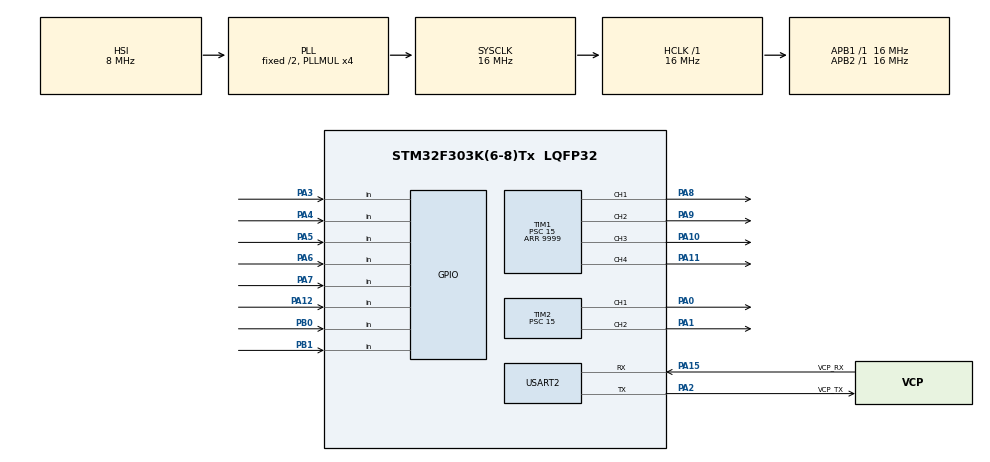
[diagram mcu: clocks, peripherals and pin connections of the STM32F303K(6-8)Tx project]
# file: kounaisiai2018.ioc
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Mcu.Family=STM32F3
Mcu.Name=STM32F303K(6-8)Tx
Mcu.Package=LQFP32
NVIC.PriorityGroup=NVIC_PRIORITYGROUP_4
PA0.Signal=S_TIM2_CH1_ETR
PA1.Signal=S_TIM2_CH2
PA10.Signal=S_TIM1_CH3
PA11.Signal=S_TIM1_CH4
PA12.Signal=GPIO_Input
PA13.GPIO_Label=SWDIO
PA13.Mode=Serial_Wire
PA13.Signal=SYS_JTMS-SWDIO
PA14.GPIO_Label=SWCLK
PA14.Mode=Serial_Wire
PA14.Signal=SYS_JTCK-SWCLK
PA15.GPIO_Label=VCP_RX
PA15.Mode=Asynchronous
PA15.Signal=USART2_RX
PA2.GPIO_Label=VCP_TX
PA2.Mode=Asynchronous
PA2.Signal=USART2_TX
PA3.Signal=GPIO_Input
PA4.Signal=GPIO_Input
PA5.Signal=GPIO_Input
PA6.Signal=GPIO_Input
PA7.Signal=GPIO_Input
PA8.Signal=S_TIM1_CH1
PA9.Signal=S_TIM1_CH2
PB0.Signal=GPIO_Input
PB1.Signal=GPIO_Input
PF0\ /\ OSC_IN.GPIO_Label=MCO
PF0\ /\ OSC_IN.Mode=HSE-External-Clock-Source
PF0\ /\ OSC_IN.Signal=RCC_OSC_IN
ProjectManager.HeapSize=0x200
ProjectManager.StackSize=0x400
ProjectManager.TargetToolchain=SW4STM32
RCC.AHBFreq_Value=16000000
RCC.APB1Freq_Value=16000000
RCC.APB1TimFreq_Value=16000000
RCC.APB2Freq_Value=16000000
RCC.APB2TimFreq_Value=16000000
RCC.CortexFreq_Value=16000000
RCC.HCLKFreq_Value=16000000
RCC.HSE_VALUE=8000000
RCC.HSI_VALUE=8000000
RCC.PLLMUL=RCC_PLL_MUL4
RCC.SYSCLKFreq_VALUE=16000000
RCC.SYSCLKSourceVirtual=RCC_SYSCLKSOURCE_PLLCLK
SH.S_TIM1_CH1.0=TIM1_CH1,PWM Generation1 CH1
SH.S_TIM1_CH2.0=TIM1_CH2,PWM Generation2 CH2
SH.S_TIM1_CH3.0=TIM1_CH3,PWM Generation3 CH3
SH.S_TIM1_CH4.0=TIM1_CH4,PWM Generation4 CH4
SH.S_TIM2_CH1_ETR.0=TIM2_CH1,PWM Generation1 CH1
SH.S_TIM2_CH2.0=TIM2_CH2,PWM Generation2 CH2
TIM1.Channel-PWM\ Generation1\ CH1=TIM_CHANNEL_1
TIM1.Channel-PWM\ Generation2\ CH2=TIM_CHANNEL_2
TIM1.Channel-PWM\ Generation3\ CH3=TIM_CHANNEL_3
TIM1.Channel-PWM\ Generation4\ CH4=TIM_CHANNEL_4
TIM1.Period=9999
TIM1.Prescaler=15
TIM2.Channel-PWM\ Generation1\ CH1=TIM_CHANNEL_1
TIM2.Channel-PWM\ Generation2\ CH2=TIM_CHANNEL_2
TIM2.Period=9999
TIM2.Prescaler=15
USART2.VirtualMode-Asynchronous=VM_ASYNC
VP_TIM1_VS_ClockSourceINT.Mode=Internal
VP_TIM2_VS_ClockSourceINT.Mode=Internal
board=NUCLEO-F303K8

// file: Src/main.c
/**
  ******************************************************************************
  * @file           : main.c
  * @brief          : Main program body
  ******************************************************************************
  ** This notice applies to any and all portions of this file
  * that are not between comment pairs USER CODE BEGIN and
  * USER CODE END. Other portions of this file, whether
  * inserted by the user or by software development tools
  * are owned by their respective copyright owners.
  *
  * COPYRIGHT(c) 2018 STMicroelectronics
  *
  * Redistribution and use in source and binary forms, with or without modification,
  * are permitted provided that the following conditions are met:
  *   1. Redistributions of source code must retain the above copyright notice,
  *      this list of conditions and the following disclaimer.
  *   2. Redistributions in binary form must reproduce the above copyright notice,
  *      this list of conditions and the following disclaimer in the documentation
  *      and/or other materials provided with the distribution.
  *   3. Neither the name of STMicroelectronics nor the names of its contributors
  *      may be used to endorse or promote products derived from this software
  *      without specific prior written permission.
  *
  * THIS SOFTWARE IS PROVIDED BY THE COPYRIGHT HOLDERS AND CONTRIBUTORS "AS IS"
  * AND ANY EXPRESS OR IMPLIED WARRANTIES, INCLUDING, BUT NOT LIMITED TO, THE
  * IMPLIED WARRANTIES OF MERCHANTABILITY AND FITNESS FOR A PARTICULAR PURPOSE ARE
  * DISCLAIMED. IN NO EVENT SHALL THE COPYRIGHT HOLDER OR CONTRIBUTORS BE LIABLE
  * FOR ANY DIRECT, INDIRECT, INCIDENTAL, SPECIAL, EXEMPLARY, OR CONSEQUENTIAL
  * DAMAGES (INCLUDING, BUT NOT LIMITED TO, PROCUREMENT OF SUBSTITUTE GOODS OR
  * SERVICES; LOSS OF USE, DATA, OR PROFITS; OR BUSINESS INTERRUPTION) HOWEVER
  * CAUSED AND ON ANY THEORY OF LIABILITY, WHETHER IN CONTRACT, STRICT LIABILITY,
  * OR TORT (INCLUDING NEGLIGENCE OR OTHERWISE) ARISING IN ANY WAY OUT OF THE USE
  * OF THIS SOFTWARE, EVEN IF ADVISED OF THE POSSIBILITY OF SUCH DAMAGE.
  *
  ******************************************************************************
  */
#include "main.h"
#include "stm32f3xx_hal.h"

TIM_HandleTypeDef htim1;
TIM_HandleTypeDef htim2;

UART_HandleTypeDef huart2;

/* USER CODE BEGIN PV */
/* Private variables ---------------------------------------------------------*/
TIM_OC_InitTypeDef sConfigOC;
/* USER CODE END PV */

void SystemClock_Config(void);
static void MX_GPIO_Init(void);
static void MX_USART2_UART_Init(void);
static void MX_TIM1_Init(void);
static void MX_TIM2_Init(void);
void HAL_TIM_MspPostInit(TIM_HandleTypeDef *htim);

/* USER CODE BEGIN PFP */
/* Private function prototypes -----------------------------------------------*/
//extern void initialise_monitor_handles(void);
/* USER CODE END PFP */

/* USER CODE BEGIN 0 */
inline int SW1()
{
return 	HAL_GPIO_ReadPin(GPIOA,GPIO_PIN_6);
}

inline int SW2()
{
return 	HAL_GPIO_ReadPin(GPIOA,GPIO_PIN_5);
}

inline int SW3()
{
return 	HAL_GPIO_ReadPin(GPIOA,GPIO_PIN_3);
}

inline int SW4()
{
return 	HAL_GPIO_ReadPin(GPIOA,GPIO_PIN_4);
}

inline int SW5()
{
return 	HAL_GPIO_ReadPin(GPIOA,GPIO_PIN_7);
}

inline int SW6()
{
return 	HAL_GPIO_ReadPin(GPIOB,GPIO_PIN_0);
}

inline int SW7()
{
return 	HAL_GPIO_ReadPin(GPIOA,GPIO_PIN_12);
}

inline int SW8()
{
return 	HAL_GPIO_ReadPin(GPIOB,GPIO_PIN_1);
}

long map(long x, long in_min, long in_max, long out_min, long out_max)//値の範囲の変換関数
{
  return (x - in_min) * (out_max - out_min) / (in_max - in_min) + out_min;
}

void motor1(int dire,int duty)//右モーター
{
	if(dire==0){
		__HAL_TIM_SetCompare(&htim1,TIM_CHANNEL_1,9999-map(duty,0,100,0,9999));
		if (HAL_TIM_PWM_Start(&htim1, TIM_CHANNEL_1) != HAL_OK)
				   					{
				   						Error_Handler();
				   					 }

			}

	else if (dire==1){
		__HAL_TIM_SetCompare(&htim1,TIM_CHANNEL_2,9999-map(duty,0,100,0,9999));

			   		if (HAL_TIM_PWM_Start(&htim1, TIM_CHANNEL_2) != HAL_OK)
			   			   			{
			   							Error_Handler();
			   			   			 }
					}
	else if(dire==2)
			{
				__HAL_TIM_SetCompare(&htim1,TIM_CHANNEL_1,9999-map(0,0,100,0,9999));
				__HAL_TIM_SetCompare(&htim1,TIM_CHANNEL_2,9999-map(0,0,100,0,9999));
			}

}

void motor3(int dire,int duty)//左モーター
{
	if(dire==0){

		__HAL_TIM_SetCompare(&htim1,TIM_CHANNEL_3,9999-map(duty,0,100,0,9999));
				   	if (HAL_TIM_PWM_Start(&htim1, TIM_CHANNEL_3) != HAL_OK)
				   					{
				   						Error_Handler();
				   					 }

				}

	else if(dire==1){

				   		__HAL_TIM_SetCompare(&htim1,TIM_CHANNEL_4,9999-map(duty,0,100,0,9999));
				   		if (HAL_TIM_PWM_Start(&htim1, TIM_CHANNEL_4) != HAL_OK)
				   			   			{
				   							Error_Handler();
				   			   			 }

					}
	else if(dire==2)
		{
			__HAL_TIM_SetCompare(&htim1,TIM_CHANNEL_3,9999-map(0,0,100,0,9999));
			__HAL_TIM_SetCompare(&htim1,TIM_CHANNEL_4,9999-map(0,0,100,0,9999));
		}

}

void motor2(int dire,int duty)//第三モーター
{
	if(dire==0){
		__HAL_TIM_SetCompare(&htim2,TIM_CHANNEL_1,9999-map(duty,0,100,0,9999));
			   			    if (HAL_TIM_PWM_Start(&htim2, TIM_CHANNEL_1) != HAL_OK)
			   			   			{
			   			   			 Error_Handler();
			   			   		    }

					}
	else if(dire==1){
		__HAL_TIM_SetCompare(&htim2,TIM_CHANNEL_2,9999-map(duty,0,100,0,9999));
					   			    if (HAL_TIM_PWM_Start(&htim2, TIM_CHANNEL_2) != HAL_OK)
					   			   			{
					   			   			 Error_Handler();
					   			   		    }

	               }
	else if(dire==2)
	{
		__HAL_TIM_SetCompare(&htim2,TIM_CHANNEL_2,9999-map(0,0,100,0,9999));
		__HAL_TIM_SetCompare(&htim2,TIM_CHANNEL_1,9999-map(0,0,100,0,9999));
	}

}

/* USER CODE END 0 */

int main(void)
{
  /* USER CODE BEGIN 1 */
	//initialise_monitor_handles();
  /* USER CODE END 1 */

  /* MCU Configuration----------------------------------------------------------*/

  /* Reset of all peripherals, Initializes the Flash interface and the Systick. */
  HAL_Init();

  /* Configure the system clock */
  SystemClock_Config();

  /* Initialize all configured peripherals */
  MX_GPIO_Init();
  MX_USART2_UART_Init();
  MX_TIM1_Init();
  MX_TIM2_Init();
  /* USER CODE BEGIN 2 */

  //HAL_TIM_Base_Start_IT(&htim1);

  /* USER CODE END 2 */

  /* Infinite loop */
  while (1)
  {

  /* USER CODE BEGIN 3 */
//motor1の挙動
	  if(SW4()==0)
	  {
		  //printf("sw4\n");
		 motor1(0,30);
	  }
	  else if(SW2()==0)
	 	  {
	 		//  printf("sw2\n");
	 		  motor1(1,30);
	 	  }
	  else
	  {
		  motor1(2,0);
	  }

	//motor3挙動
	   if(SW8()==0)
	  {

		  motor3(0,30);
	  }

	   else if(SW6()==0)
	 	  {
	 		  motor3(1,30);
	 	  }
	   else{
		   motor3(2,0);
	   }

	//motor2挙動
	   if(SW3()==0)
	  {
		motor2(1,30);
	  }

	   else if(SW5()==0)
	  {
		  motor2(0,30);
	  }
	   else{
		   motor2(2,0);
	   }

HAL_Delay(10);

  }
  /* USER CODE END 3 */

}

void SystemClock_Config(void)
{

  RCC_OscInitTypeDef RCC_OscInitStruct;
  RCC_ClkInitTypeDef RCC_ClkInitStruct;
  RCC_PeriphCLKInitTypeDef PeriphClkInit;

    /**Initializes the CPU, AHB and APB busses clocks
    */
  RCC_OscInitStruct.OscillatorType = RCC_OSCILLATORTYPE_HSI;
  RCC_OscInitStruct.HSIState = RCC_HSI_ON;
  RCC_OscInitStruct.HSICalibrationValue = 16;
  RCC_OscInitStruct.PLL.PLLState = RCC_PLL_ON;
  RCC_OscInitStruct.PLL.PLLSource = RCC_PLLSOURCE_HSI;
  RCC_OscInitStruct.PLL.PLLMUL = RCC_PLL_MUL4;
  if (HAL_RCC_OscConfig(&RCC_OscInitStruct) != HAL_OK)
  {
    _Error_Handler(__FILE__, __LINE__);
  }

    /**Initializes the CPU, AHB and APB busses clocks
    */
  RCC_ClkInitStruct.ClockType = RCC_CLOCKTYPE_HCLK|RCC_CLOCKTYPE_SYSCLK
                              |RCC_CLOCKTYPE_PCLK1|RCC_CLOCKTYPE_PCLK2;
  RCC_ClkInitStruct.SYSCLKSource = RCC_SYSCLKSOURCE_PLLCLK;
  RCC_ClkInitStruct.AHBCLKDivider = RCC_SYSCLK_DIV1;
  RCC_ClkInitStruct.APB1CLKDivider = RCC_HCLK_DIV1;
  RCC_ClkInitStruct.APB2CLKDivider = RCC_HCLK_DIV1;

  if (HAL_RCC_ClockConfig(&RCC_ClkInitStruct, FLASH_LATENCY_0) != HAL_OK)
  {
    _Error_Handler(__FILE__, __LINE__);
  }

  PeriphClkInit.PeriphClockSelection = RCC_PERIPHCLK_TIM1;
  PeriphClkInit.Tim1ClockSelection = RCC_TIM1CLK_HCLK;
  if (HAL_RCCEx_PeriphCLKConfig(&PeriphClkInit) != HAL_OK)
  {
    _Error_Handler(__FILE__, __LINE__);
  }

    /**Configure the Systick interrupt time
    */
  HAL_SYSTICK_Config(HAL_RCC_GetHCLKFreq()/1000);

    /**Configure the Systick
    */
  HAL_SYSTICK_CLKSourceConfig(SYSTICK_CLKSOURCE_HCLK);

  /* SysTick_IRQn interrupt configuration */
  HAL_NVIC_SetPriority(SysTick_IRQn, 0, 0);
}

/* TIM1 init function */
static void MX_TIM1_Init(void)
{

  TIM_ClockConfigTypeDef sClockSourceConfig;
  TIM_MasterConfigTypeDef sMasterConfig;
  TIM_OC_InitTypeDef sConfigOC;
  TIM_BreakDeadTimeConfigTypeDef sBreakDeadTimeConfig;

  htim1.Instance = TIM1;
  htim1.Init.Prescaler = 15;
  htim1.Init.CounterMode = TIM_COUNTERMODE_UP;
  htim1.Init.Period = 9999;
  htim1.Init.ClockDivision = TIM_CLOCKDIVISION_DIV1;
  htim1.Init.RepetitionCounter = 0;
  htim1.Init.AutoReloadPreload = TIM_AUTORELOAD_PRELOAD_DISABLE;
  if (HAL_TIM_Base_Init(&htim1) != HAL_OK)
  {
    _Error_Handler(__FILE__, __LINE__);
  }

  sClockSourceConfig.ClockSource = TIM_CLOCKSOURCE_INTERNAL;
  if (HAL_TIM_ConfigClockSource(&htim1, &sClockSourceConfig) != HAL_OK)
  {
    _Error_Handler(__FILE__, __LINE__);
  }

  if (HAL_TIM_PWM_Init(&htim1) != HAL_OK)
  {
    _Error_Handler(__FILE__, __LINE__);
  }

  sMasterConfig.MasterOutputTrigger = TIM_TRGO_RESET;
  sMasterConfig.MasterOutputTrigger2 = TIM_TRGO2_RESET;
  sMasterConfig.MasterSlaveMode = TIM_MASTERSLAVEMODE_DISABLE;
  if (HAL_TIMEx_MasterConfigSynchronization(&htim1, &sMasterConfig) != HAL_OK)
  {
    _Error_Handler(__FILE__, __LINE__);
  }

  sConfigOC.OCMode = TIM_OCMODE_PWM1;
  sConfigOC.Pulse = 0;
  sConfigOC.OCPolarity = TIM_OCPOLARITY_HIGH;
  sConfigOC.OCNPolarity = TIM_OCNPOLARITY_HIGH;
  sConfigOC.OCFastMode = TIM_OCFAST_DISABLE;
  sConfigOC.OCIdleState = TIM_OCIDLESTATE_RESET;
  sConfigOC.OCNIdleState = TIM_OCNIDLESTATE_RESET;
  if (HAL_TIM_PWM_ConfigChannel(&htim1, &sConfigOC, TIM_CHANNEL_1) != HAL_OK)
  {
    _Error_Handler(__FILE__, __LINE__);
  }

  if (HAL_TIM_PWM_ConfigChannel(&htim1, &sConfigOC, TIM_CHANNEL_2) != HAL_OK)
  {
    _Error_Handler(__FILE__, __LINE__);
  }

  if (HAL_TIM_PWM_ConfigChannel(&htim1, &sConfigOC, TIM_CHANNEL_3) != HAL_OK)
  {
    _Error_Handler(__FILE__, __LINE__);
  }

  if (HAL_TIM_PWM_ConfigChannel(&htim1, &sConfigOC, TIM_CHANNEL_4) != HAL_OK)
  {
    _Error_Handler(__FILE__, __LINE__);
  }

  sBreakDeadTimeConfig.OffStateRunMode = TIM_OSSR_DISABLE;
  sBreakDeadTimeConfig.OffStateIDLEMode = TIM_OSSI_DISABLE;
  sBreakDeadTimeConfig.LockLevel = TIM_LOCKLEVEL_OFF;
  sBreakDeadTimeConfig.DeadTime = 0;
  sBreakDeadTimeConfig.BreakState = TIM_BREAK_DISABLE;
  sBreakDeadTimeConfig.BreakPolarity = TIM_BREAKPOLARITY_HIGH;
  sBreakDeadTimeConfig.BreakFilter = 0;
  sBreakDeadTimeConfig.Break2State = TIM_BREAK2_DISABLE;
  sBreakDeadTimeConfig.Break2Polarity = TIM_BREAK2POLARITY_HIGH;
  sBreakDeadTimeConfig.Break2Filter = 0;
  sBreakDeadTimeConfig.AutomaticOutput = TIM_AUTOMATICOUTPUT_DISABLE;
  if (HAL_TIMEx_ConfigBreakDeadTime(&htim1, &sBreakDeadTimeConfig) != HAL_OK)
  {
    _Error_Handler(__FILE__, __LINE__);
  }

  HAL_TIM_MspPostInit(&htim1);

}

/* TIM2 init function */
static void MX_TIM2_Init(void)
{

  TIM_ClockConfigTypeDef sClockSourceConfig;
  TIM_MasterConfigTypeDef sMasterConfig;
  TIM_OC_InitTypeDef sConfigOC;

  htim2.Instance = TIM2;
  htim2.Init.Prescaler = 15;
  htim2.Init.CounterMode = TIM_COUNTERMODE_UP;
  htim2.Init.Period = 9999;
  htim2.Init.ClockDivision = TIM_CLOCKDIVISION_DIV1;
  htim2.Init.AutoReloadPreload = TIM_AUTORELOAD_PRELOAD_DISABLE;
  if (HAL_TIM_Base_Init(&htim2) != HAL_OK)
  {
    _Error_Handler(__FILE__, __LINE__);
  }

  sClockSourceConfig.ClockSource = TIM_CLOCKSOURCE_INTERNAL;
  if (HAL_TIM_ConfigClockSource(&htim2, &sClockSourceConfig) != HAL_OK)
  {
    _Error_Handler(__FILE__, __LINE__);
  }

  if (HAL_TIM_PWM_Init(&htim2) != HAL_OK)
  {
    _Error_Handler(__FILE__, __LINE__);
  }

  sMasterConfig.MasterOutputTrigger = TIM_TRGO_RESET;
  sMasterConfig.MasterSlaveMode = TIM_MASTERSLAVEMODE_DISABLE;
  if (HAL_TIMEx_MasterConfigSynchronization(&htim2, &sMasterConfig) != HAL_OK)
  {
    _Error_Handler(__FILE__, __LINE__);
  }

  sConfigOC.OCMode = TIM_OCMODE_PWM1;
  sConfigOC.Pulse = 0;
  sConfigOC.OCPolarity = TIM_OCPOLARITY_HIGH;
  sConfigOC.OCFastMode = TIM_OCFAST_DISABLE;
  if (HAL_TIM_PWM_ConfigChannel(&htim2, &sConfigOC, TIM_CHANNEL_1) != HAL_OK)
  {
    _Error_Handler(__FILE__, __LINE__);
  }

  if (HAL_TIM_PWM_ConfigChannel(&htim2, &sConfigOC, TIM_CHANNEL_2) != HAL_OK)
  {
    _Error_Handler(__FILE__, __LINE__);
  }

  HAL_TIM_MspPostInit(&htim2);

}

/* USART2 init function */
static void MX_USART2_UART_Init(void)
{

  huart2.Instance = USART2;
  huart2.Init.BaudRate = 38400;
  huart2.Init.StopBits = UART_STOPBITS_1;
  huart2.Init.Parity = UART_PARITY_NONE;
  huart2.Init.Mode = UART_MODE_TX_RX;
  huart2.Init.HwFlowCtl = UART_HWCONTROL_NONE;
  huart2.Init.OverSampling = UART_OVERSAMPLING_16;
  huart2.Init.OneBitSampling = UART_ONE_BIT_SAMPLE_DISABLE;
  huart2.AdvancedInit.AdvFeatureInit = UART_ADVFEATURE_NO_INIT;
  if (HAL_UART_Init(&huart2) != HAL_OK)
  {
    _Error_Handler(__FILE__, __LINE__);
  }

}

/** Configure pins as
        * Analog
        * Input
        * Output
        * EVENT_OUT
        * EXTI
*/
static void MX_GPIO_Init(void)
{

  GPIO_InitTypeDef GPIO_InitStruct;

  /* GPIO Ports Clock Enable */
  __HAL_RCC_GPIOF_CLK_ENABLE();
  __HAL_RCC_GPIOA_CLK_ENABLE();
  __HAL_RCC_GPIOB_CLK_ENABLE();

  /*Configure GPIO pins : PA3 PA4 PA5 PA6
                           PA7 PA12 */
  GPIO_InitStruct.Pin = GPIO_PIN_3|GPIO_PIN_4|GPIO_PIN_5|GPIO_PIN_6
                          |GPIO_PIN_7|GPIO_PIN_12;
  GPIO_InitStruct.Mode = GPIO_MODE_INPUT;
  GPIO_InitStruct.Pull = GPIO_NOPULL;
  HAL_GPIO_Init(GPIOA, &GPIO_InitStruct);

  /*Configure GPIO pins : PB0 PB1 */
  GPIO_InitStruct.Pin = GPIO_PIN_0|GPIO_PIN_1;
  GPIO_InitStruct.Mode = GPIO_MODE_INPUT;
  GPIO_InitStruct.Pull = GPIO_NOPULL;
  HAL_GPIO_Init(GPIOB, &GPIO_InitStruct);

}

void _Error_Handler(char *file, int line)
{
  /* USER CODE BEGIN Error_Handler_Debug */
  /* User can add his own implementation to report the HAL error return state */
  while(1){};

  /* USER CODE END Error_Handler_Debug */
}

/************************ (C) COPYRIGHT STMicroelectronics *****END OF FILE****/
